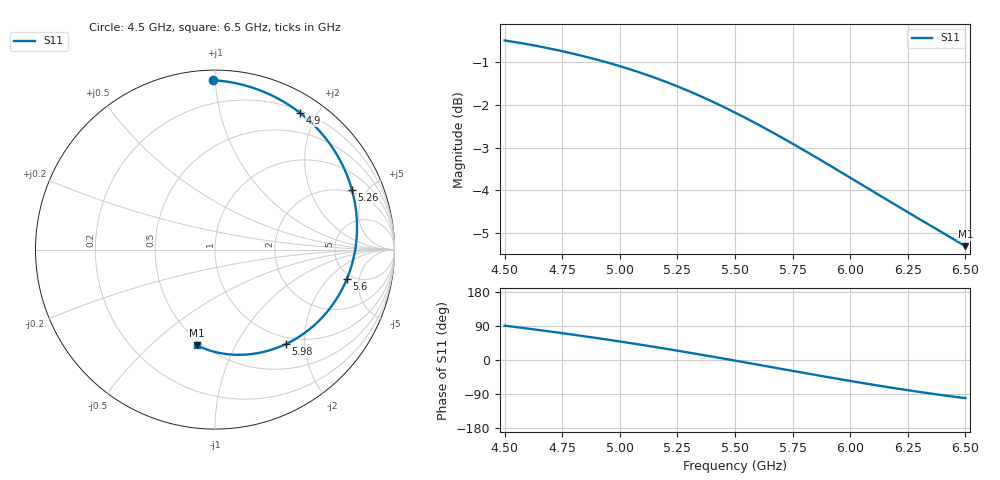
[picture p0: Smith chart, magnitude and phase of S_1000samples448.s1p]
! TOUCHSTONE file generated by CST MICROWAVE STUDIO
! Date and time: Fri Oct 28 05:09:39 2022
! Project name: L.cst
! Parameters = {Di=1.27; Epsilon_r=1.56; InnerDiameter=1.27; Length=2; Lf=10; Lg=60; OuterConductorThickness=0.2921; OuterDiameter=3.6; Wf=3; Wp=41.2; de=1.5; df=6.8; g=0.8; gx=1.30317; gy=3.87845; h=2.34; hf=1.524; px=9.57187; py=8.42854; w=9.7; wx=8.2687; wy=4.5501}
! Header version: 2018
! Port assignment regex: !\s*Touchstone port\s*([0-9]+)\s*=\s*(CST MWS port|CST DS port)\s*([0-9]+|Zmin|Zmax)\s*\(\"(.*)\"\)(\s*mode\s*([0-9]+))?.*
! Touchstone port assignment:
! Touchstone port 1 = CST MWS port 1 ("")
# GHz S DB R 50
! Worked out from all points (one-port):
!   101 points, 4.5 GHz to 6.5 GHz, reference 50 ohm
!   lowest |S11| = -5.3 dB at 6.5 GHz (marker M1), VSWR 3.38, Z = 23.6 - j35.7 ohm
!   |S11| at or under -10 dB: nowhere
!   S11 on the Smith chart (normalised r, x): 4.5 GHz: 0.06, +0.99; 4.9 GHz: 0.23, +1.78; 5.26 GHz: 1.84, +3.99; 5.6 GHz: 4.51, -3.37; 5.98 GHz: 0.88, -1.63; 6.5 GHz: 0.47, -0.71
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4.5  -0.50 90.6
4.58  -0.57 84.5
4.64  -0.63 79.8
4.76  -0.76 70.0
4.82  -0.84 64.9
4.9  -0.95 57.9
5  -1.10 48.9
5.08  -1.24 41.3
5.14  -1.35 35.5
5.2  -1.47 29.6
5.26  -1.59 23.6
5.32  -1.73 17.4
5.38  -1.87 11.2
5.44  -2.03 4.8
5.5  -2.18 -1.6
5.6  -2.46 -12.4
5.68  -2.70 -21.1
5.76  -2.94 -29.8
5.82  -3.13 -36.3
5.88  -3.32 -42.7
5.98  -3.64 -53.2
6  -3.70 -55.3
6.06  -3.90 -61.4
6.12  -4.09 -67.3
6.18  -4.28 -73.1
6.26  -4.54 -80.6
6.38  -4.92 -91.1
6.5  -5.30 -100.7
